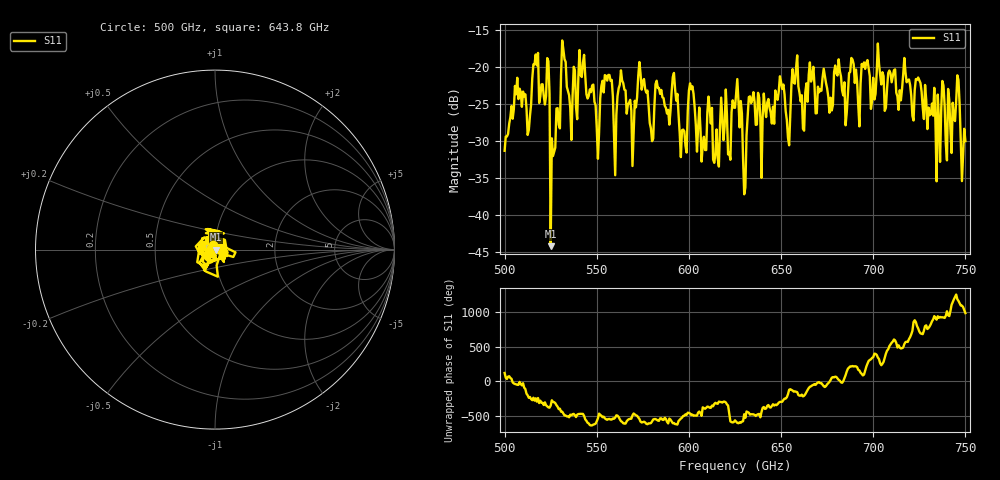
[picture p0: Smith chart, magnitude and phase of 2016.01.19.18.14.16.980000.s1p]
!Created with skrf (http://scikit-rf.org).
# GHz S RI R 50.0
!freq ReS11 ImS11
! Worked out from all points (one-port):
!   401 points, 500 GHz to 750 GHz, reference 50 ohm
!   lowest |S11| = -44.2 dB at 525 GHz (marker M1), VSWR 1.01, Z = 50.6 + j0.0539 ohm
!   |S11| at or under -10 dB: start of sweep to end of sweep
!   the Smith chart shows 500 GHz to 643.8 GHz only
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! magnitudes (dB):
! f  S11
! 500 GHz  -31.3
! 506.9 GHz  -21.4
! 513.1 GHz  -28.5
! 516.9 GHz  -18.3
! 523.1 GHz  -18.8
! 525 GHz  -44.2
! 526.2 GHz  -32.0
! 531.2 GHz  -16.4
! 535.6 GHz  -25.5
! 541.9 GHz  -21.3
! 550 GHz  -28.3
! 562.5 GHz  -22.4
! 593.8 GHz  -23.6
! 601.2 GHz  -23.0
! 608.1 GHz  -29.4
! 611.2 GHz  -25.6
! 615 GHz  -28.4
! 625 GHz  -25.5
! 630.6 GHz  -36.2
! 633.8 GHz  -24.8
! 650.6 GHz  -22.9
! 653.8 GHz  -29.5
! 656.2 GHz  -20.3
! 687.5 GHz  -20.6
! 718.8 GHz  -21.7
! 735 GHz  -23.7
! 745.6 GHz  -21.1
! 750 GHz  -30.0
